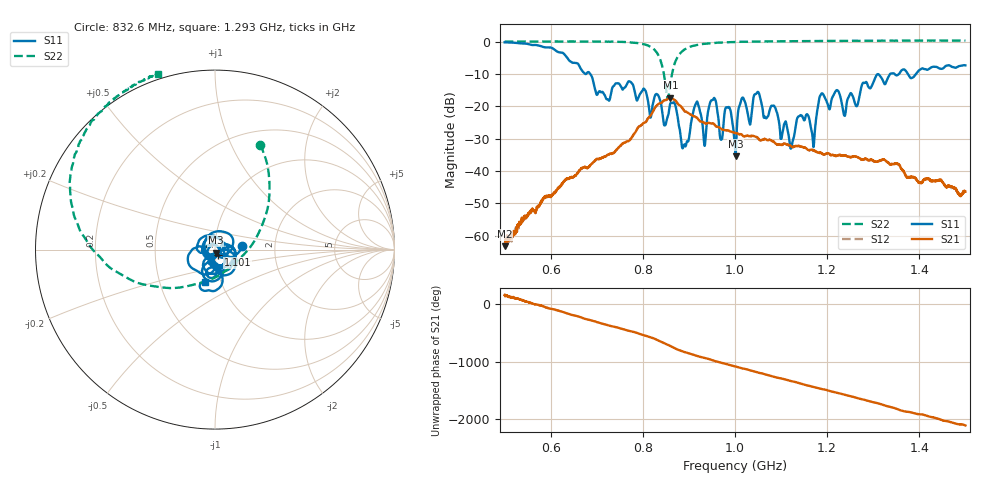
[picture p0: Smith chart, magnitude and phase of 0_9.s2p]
!Keysight Technologies,N5242B,MY48420860,A.13.80.08
!Date: Saturday, September 26, 2020 11:34:54
!Correction: S11(Full 2 Port(1,2))
!S21(Full 2 Port(1,2))
!S12(Full 2 Port(1,2))
!S22(Full 2 Port(1,2))
!S2P File: Measurements: S11, S21, S12, S22:
# Hz S  dB  R 50
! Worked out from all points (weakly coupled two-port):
!   2650 points, 500 MHz to 1.5 GHz, reference 50 ohm
!   highest |S21| = -17.35 dB at 859.8 MHz (marker M1); lowest = -63.2 dB at 500 MHz (marker M2)
!   lowest |S11| = -35.5 dB at 1.001 GHz (marker M3), VSWR 1.03, Z = 50.4 - j1.64 ohm
!   |S11| at or under -10 dB: 685.7 MHz to 1.337 GHz (651 MHz wide, 64.4 % of centre); 1.346 GHz to 1.356 GHz (9.906 MHz wide, 0.733 % of centre); 1.375 GHz to 1.393 GHz (17.85 MHz wide, 1.29 % of centre) (the widest 3 of 4)
!   |S22| runs from -17.8 to 0.3 dB; largest |S21 - S12| = 0.00042
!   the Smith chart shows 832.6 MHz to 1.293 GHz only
!   S11 on the Smith chart (normalised r, x): 832.6 MHz: 1.35, +0.06; 1.101 GHz: 1.03, -0.06; 1.293 GHz: 0.84, -0.31
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5e8  -0.24 -166.3  -63.23 157.4  -63.22 158.1  -0.02 147.3
6.038128e8  -2.05 125.8  -47.18 -86.2  -47.37 -86.2  0.01 139.1
6.668554e8  -8.74 78.6  -39.17 126.4  -39.22 126.0  0.02 132.7
8.325783e8  -16.46 8.2  -19.41 90.7  -19.42 90.7  -3.92 66.7
8.337108e8  -16.72 3.1  -19.28 86.1  -19.29 86.1  -4.24 64.4
8.597584e8  -19.10 -3.8  -17.35 -9.7  -17.37 -9.8  -13.11 -119.3
8.88826e8  -32.17 13.8  -21.19 -109.6  -21.21 -109.7  -2.62 173.9
9.14496e8  -19.36 70.9  -23.33 -172.2  -23.33 -172.2  -1.13 156.8
9.337486e8  -32.15 -6.9  -25.14 145.1  -25.15 145.0  -0.70 149.5
9.526236e8  -17.91 -42.2  -25.33 101.3  -25.35 101.1  -0.45 144.2
9.692337e8  -30.26 -78.3  -26.87 62.9  -26.86 62.7  -0.31 140.9
1.000189e9  -33.44 -105.5  -28.23 -2.2  -28.24 -2.2  -0.14 135.7
1.001321e9  -35.46 -74.9  -28.26 -4.7  -28.26 -4.9  -0.14 135.5
1.013401e9  -18.11 -79.9  -28.63 -30.7  -28.64 -30.9  -0.06 133.8
1.031899e9  -25.30 -121.3  -29.20 -67.4  -29.20 -67.3  -0.02 131.4
1.047376e9  -15.88 -137.3  -29.51 -104.5  -29.50 -104.3  -0.02 129.7
1.101359e9  -29.64 -60.4  -31.91 146.9  -31.93 147.0  0.09 124.1
1.166667e9  -27.93 -55.6  -33.45 8.9  -33.46 8.7  0.16 118.3
1.187429e9  -16.13 -50.0  -34.42 -33.8  -34.44 -33.5  0.19 116.7
1.293129e9  -14.48 -107.0  -36.62 111.7  -36.56 111.5  0.25 108.0
1.333522e9  -10.82 -121.1  -37.56 18.9  -37.56 19.1  0.29 104.7
1.5e9  -7.35 164.7  -46.39 51.7  -46.49 52.1  0.31 90.8
